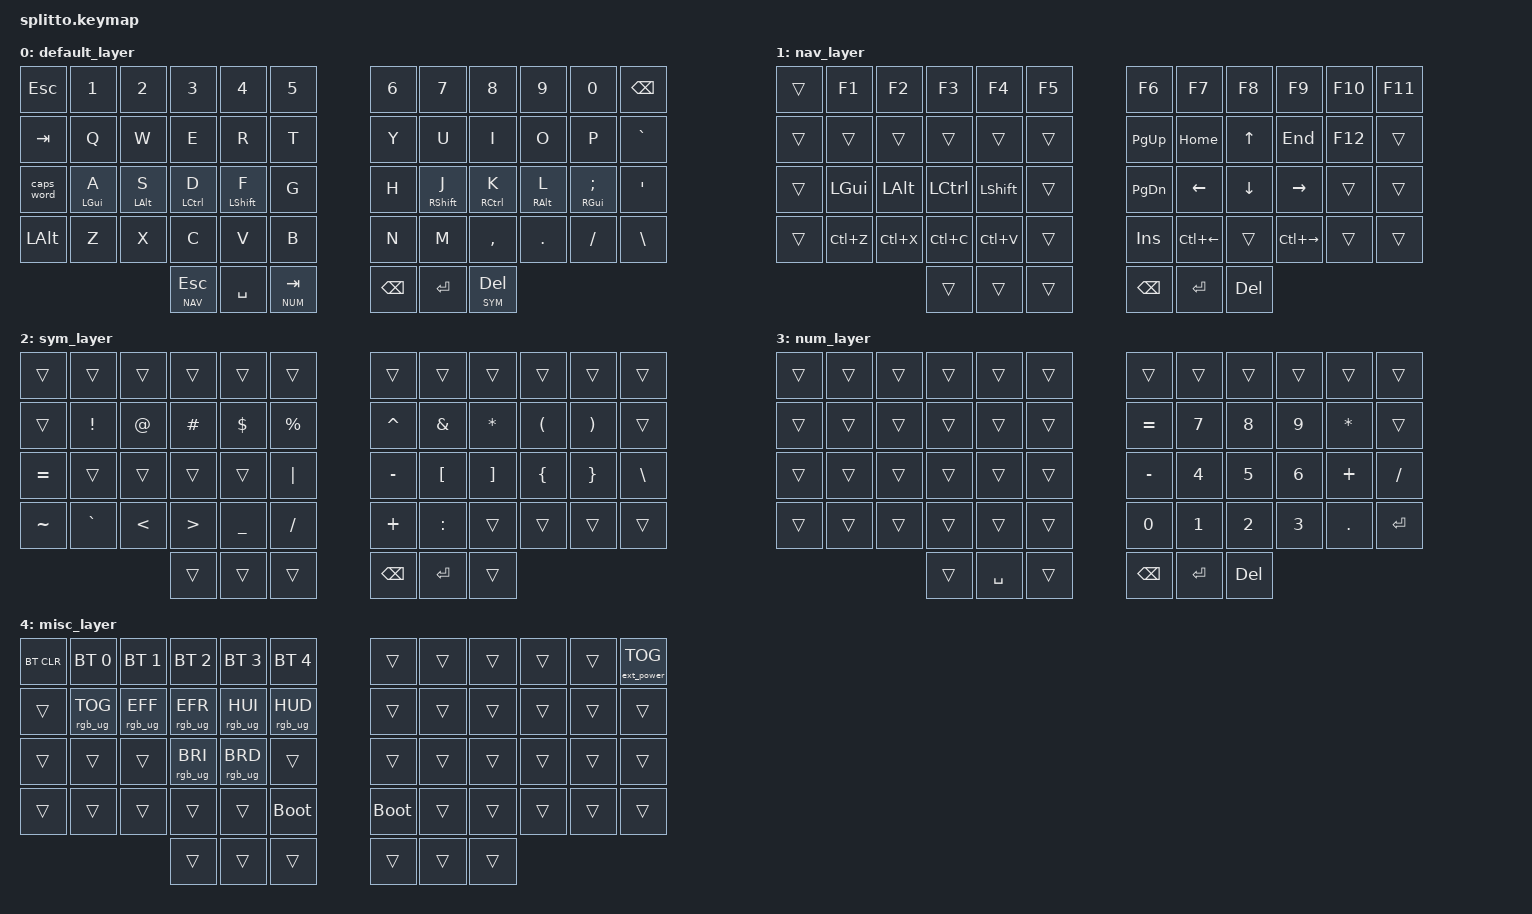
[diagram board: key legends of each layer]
#include <behaviors.dtsi>
#include <dt-bindings/zmk/keys.h>
#include <dt-bindings/zmk/rgb.h>
#include <dt-bindings/zmk/ext_power.h>
#include <dt-bindings/zmk/bt.h>

#define DEFAULT 0
#define NAV     1
#define SYM     2
#define NUM     3
#define MISC    4

/ {
    combos {
        compatible = "zmk,combos";
        combo_misc {
            timeout-ms = <50>;
            key-positions = <50 51>; // both inner thumbs simultaneously
            bindings = <&mo MISC>;
        };
    };

    behaviors {
        hrml: home_row_mod_left {
            compatible = "zmk,behavior-hold-tap";
            #binding-cells = <2>;
            flavor = "balanced";
            tapping-term-ms = <280>;
            quick-tap-ms = <175>;
            require-prior-idle-ms = <150>;
            bindings = <&kp>, <&kp>;
            // only trigger hold when keys on the opposite hand (or thumbs) are involved
            hold-trigger-key-positions = <6 7 8 9 10 11 18 19 20 21 22 23 30 31 32 33 34 35 42 43 44 45 46 47 48 49 50 51 52 53>;
            hold-trigger-on-release;
        };

        hrmr: home_row_mod_right {
            compatible = "zmk,behavior-hold-tap";
            #binding-cells = <2>;
            flavor = "balanced";
            tapping-term-ms = <280>;
            quick-tap-ms = <175>;
            require-prior-idle-ms = <150>;
            bindings = <&kp>, <&kp>;
            hold-trigger-key-positions = <0 1 2 3 4 5 12 13 14 15 16 17 24 25 26 27 28 29 36 37 38 39 40 41 48 49 50 51 52 53>;
            hold-trigger-on-release;
        };
    };

    keymap {
        compatible = "zmk,keymap";

        // ┌──────┬────┬────┬────┬────┬────┐   ┌────┬────┬────┬────┬────┬──────┐
        // │ ESC  │ 1  │ 2  │ 3  │ 4  │ 5  │   │ 6  │ 7  │ 8  │ 9  │ 0  │ BSPC │
        // ├──────┼────┼────┼────┼────┼────┤   ├────┼────┼────┼────┼────┼──────┤
        // │ TAB  │ Q  │ W  │ E  │ R  │ T  │   │ Y  │ U  │ I  │ O  │ P  │  `   │
        // ├──────┼────┼────┼────┼────┼────┤   ├────┼────┼────┼────┼────┼──────┤
        // │ CAPS │GUI/│ALT/│CTL/│SFT/│ G  │   │ H  │/SFT│/CTL│/ALT│/GUI│  '   │
        // │ WORD │ A  │ S  │ D  │ F  │    │   │    │ J  │ K  │ L  │ ;  │      │
        // ├──────┼────┼────┼────┼────┼────┤   ├────┼────┼────┼────┼────┼──────┤
        // │ LALT │ Z  │ X  │ C  │ V  │ B  │   │ N  │ M  │ ,  │ .  │ /  │  \   │
        // └──────┴────┴────┴────┴────┴────┘   └────┴────┴────┴────┴────┴──────┘
        //    ┌──────────┐ ┌───────┐ ┌──────────┐  ┌──────┐ ┌───────┐ ┌──────────┐
        //    │NAV(hold) │ │ SPACE │ │NUM(hold) │  │ BSPC │ │ ENTER │ │SYM(hold) │
        //    │ ESC(tap) │ │       │ │ TAB(tap) │  │      │ │       │ │ DEL(tap) │
        //    └──────────┘ └───────┘ └──────────┘  └──────┘ └───────┘ └──────────┘
        default_layer {
            bindings = <
                &kp ESC        &kp N1          &kp N2         &kp N3          &kp N4          &kp N5          &kp N6      &kp N7          &kp N8          &kp N9          &kp N0          &kp BSPC
                &kp TAB        &kp Q           &kp W          &kp E           &kp R           &kp T           &kp Y       &kp U           &kp I           &kp O           &kp P           &kp GRAVE
                &caps_word     &hrml LGUI A    &hrml LALT S   &hrml LCTRL D   &hrml LSHFT F   &kp G           &kp H       &hrmr RSHFT J   &hrmr RCTRL K   &hrmr RALT L    &hrmr RGUI SEMI   &kp SQT
                &kp LALT       &kp Z           &kp X          &kp C           &kp V           &kp B           &kp N       &kp M           &kp COMMA       &kp DOT         &kp FSLH        &kp BSLH
                &lt NAV ESC    &kp SPACE       &lt NUM TAB                                     &kp BSPC        &kp RET     &lt SYM DEL
            >;
        };

        // NAV: hold left-outer thumb — navigate with right hand
        // ┌──────┬────┬────┬────┬────┬────┐   ┌──────┬──────┬──────┬───────┬─────┬─────┐
        // │      │ F1 │ F2 │ F3 │ F4 │ F5 │   │  F6  │  F7  │  F8  │  F9   │ F10 │ F11 │
        // ├──────┼────┼────┼────┼────┼────┤   ├──────┼──────┼──────┼───────┼─────┼─────┤
        // │      │    │    │    │    │    │   │ PgUp │ Home │  Up  │  End  │ F12 │     │
        // ├──────┼────┼────┼────┼────┼────┤   ├──────┼──────┼──────┼───────┼─────┼─────┤
        // │      │GUI │ALT │CTL │SFT │    │   │ PgDn │ Left │ Down │ Right │     │     │
        // ├──────┼────┼────┼────┼────┼────┤   ├──────┼──────┼──────┼───────┼─────┼─────┤
        // │      │Und │Cut │Cpy │Pst │    │   │ Ins  │ C+←  │      │  C+→  │     │     │
        // └──────┴────┴────┴────┴────┴────┘   └──────┴──────┴──────┴───────┴─────┴─────┘
        //         (held)  ┌───────┐ ┌───┐      ┌──────┐ ┌───────┐ ┌─────┐
        //                 │       │ │   │      │ BSPC │ │ ENTER │ │ DEL │
        //                 └───────┘ └───┘      └──────┘ └───────┘ └─────┘
        nav_layer {
            bindings = <
                &trans         &kp F1          &kp F2         &kp F3          &kp F4          &kp F5          &kp F6      &kp F7          &kp F8          &kp F9          &kp F10         &kp F11
                &trans         &trans          &trans         &trans          &trans          &trans          &kp PG_UP   &kp HOME        &kp UP          &kp END         &kp F12         &trans
                &trans         &kp LGUI        &kp LALT       &kp LCTRL       &kp LSHFT       &trans          &kp PG_DN   &kp LEFT        &kp DOWN        &kp RIGHT       &trans          &trans
                &trans         &kp LC(Z)       &kp LC(X)      &kp LC(C)       &kp LC(V)       &trans          &kp INS     &kp LC(LEFT)    &trans          &kp LC(RIGHT)   &trans          &trans
                &trans         &trans          &trans                                          &kp BSPC        &kp RET     &kp DEL
            >;
        };

        // SYM: hold right-outer thumb — type symbols with left hand
        // ┌──────┬────┬────┬────┬────┬────┐   ┌─────┬─────┬─────┬─────┬─────┬─────┐
        // │      │    │    │    │    │    │   │     │     │     │     │     │     │
        // ├──────┼────┼────┼────┼────┼────┤   ├─────┼─────┼─────┼─────┼─────┼─────┤
        // │      │ !  │ @  │ #  │ $  │ %  │   │  ^  │  &  │  *  │  (  │  )  │     │
        // ├──────┼────┼────┼────┼────┼────┤   ├─────┼─────┼─────┼─────┼─────┼─────┤
        // │  =   │(G) │(A) │(C) │(S) │ |  │   │  -  │  [  │  ]  │  {  │  }  │  \  │
        // ├──────┼────┼────┼────┼────┼────┤   ├─────┼─────┼─────┼─────┼─────┼─────┤
        // │  ~   │ `  │ <  │ >  │ _  │ /  │   │  +  │  :  │     │     │     │     │
        // └──────┴────┴────┴────┴────┴────┘   └─────┴─────┴─────┴─────┴─────┴─────┘
        //                        ┌───────┐ ┌───┐      ┌──────┐ ┌───────┐  (held)
        //                        │       │ │   │      │ BSPC │ │ ENTER │
        //                        └───────┘ └───┘      └──────┘ └───────┘
        sym_layer {
            bindings = <
                &trans         &trans          &trans         &trans          &trans          &trans          &trans      &trans          &trans          &trans          &trans          &trans
                &trans         &kp EXCL        &kp AT         &kp HASH        &kp DLLR        &kp PRCNT       &kp CARET   &kp AMPS        &kp ASTRK       &kp LPAR        &kp RPAR        &trans
                &kp EQUAL      &trans          &trans         &trans          &trans          &kp PIPE        &kp MINUS   &kp LBKT        &kp RBKT        &kp LBRC        &kp RBRC        &kp BSLH
                &kp TILDE      &kp GRAVE       &kp LT         &kp GT          &kp UNDER       &kp FSLH        &kp PLUS    &kp COLON       &trans          &trans          &trans          &trans
                &trans         &trans          &trans                                          &kp BSPC        &kp RET     &trans
            >;
        };

        // NUM: hold left-inner thumb — numpad on right hand
        // ┌──────┬────┬────┬────┬────┬────┐   ┌─────┬────┬────┬────┬──────┬─────┐
        // │      │    │    │    │    │    │   │     │    │    │    │      │     │
        // ├──────┼────┼────┼────┼────┼────┤   ├─────┼────┼────┼────┼──────┼─────┤
        // │      │    │    │    │    │    │   │  =  │ 7  │ 8  │ 9  │  *   │     │
        // ├──────┼────┼────┼────┼────┼────┤   ├─────┼────┼────┼────┼──────┼─────┤
        // │      │(G) │(A) │(C) │(S) │    │   │  -  │ 4  │ 5  │ 6  │  +   │  /  │
        // ├──────┼────┼────┼────┼────┼────┤   ├─────┼────┼────┼────┼──────┼─────┤
        // │      │    │    │    │    │    │   │  0  │ 1  │ 2  │ 3  │  .   │ RET │
        // └──────┴────┴────┴────┴────┴────┘   └─────┴────┴────┴────┴──────┴─────┘
        //                 ┌───────┐  (held)     ┌──────┐ ┌───────┐ ┌─────┐
        //                 │       │             │ BSPC │ │ ENTER │ │ DEL │
        //                 └───────┘             └──────┘ └───────┘ └─────┘
        num_layer {
            bindings = <
                &trans         &trans          &trans         &trans          &trans          &trans          &trans      &trans          &trans          &trans          &trans          &trans
                &trans         &trans          &trans         &trans          &trans          &trans          &kp EQUAL   &kp N7          &kp N8          &kp N9          &kp ASTRK       &trans
                &trans         &trans          &trans         &trans          &trans          &trans          &kp MINUS   &kp N4          &kp N5          &kp N6          &kp PLUS        &kp FSLH
                &trans         &trans          &trans         &trans          &trans          &trans          &kp N0      &kp N1          &kp N2          &kp N3          &kp DOT         &kp RET
                &trans         &kp SPACE       &trans                                          &kp BSPC        &kp RET     &kp DEL
            >;
        };

        // MISC: combo — both inner thumbs simultaneously
        misc_layer {
            bindings = <
                &bt BT_CLR     &bt BT_SEL 0    &bt BT_SEL 1   &bt BT_SEL 2    &bt BT_SEL 3    &bt BT_SEL 4    &trans      &trans          &trans          &trans          &trans          &ext_power EP_TOG
                &trans         &rgb_ug RGB_TOG &rgb_ug RGB_EFF &rgb_ug RGB_EFR &rgb_ug RGB_HUI &rgb_ug RGB_HUD &trans      &trans          &trans          &trans          &trans          &trans
                &trans         &trans          &trans         &rgb_ug RGB_BRI &rgb_ug RGB_BRD &trans          &trans      &trans          &trans          &trans          &trans          &trans
                &trans         &trans          &trans         &trans          &trans          &bootloader     &bootloader &trans          &trans          &trans          &trans          &trans
                &trans         &trans          &trans                                          &trans          &trans      &trans
            >;
        };
    };
};
